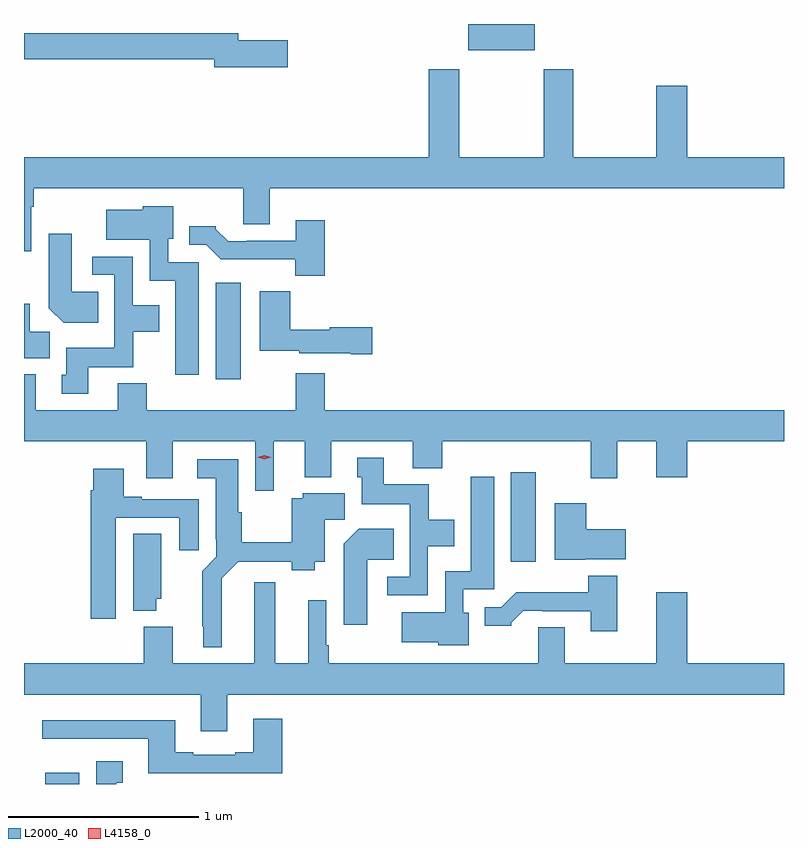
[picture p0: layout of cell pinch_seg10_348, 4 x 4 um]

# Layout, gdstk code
import gdstk
lib = gdstk.Library(unit=1e-6, precision=1e-09)
def R(c, l, rs):  # rectangles x0, y0, x1, y1
    for r in rs: c.add(gdstk.rectangle(r[:2], r[2:], *l))
def P(c, l, *ps):  # polygons
    for p in ps: c.add(gdstk.Polygon(p, *l))
L2000_40 = (2000, 40)
L4158_0 = (4158, 0)

pinch_seg10_348 = lib.new_cell('pinch_seg10_348')
R(pinch_seg10_348, L2000_40, [(497.456,1257.221,497.635,1257.28), (499.907,1258.392,500.038,1258.861), (498.353,1259.352,498.484,1259.86), (499.682,1261.082,500.032,1261.221)])
P(pinch_seg10_348, L2000_40, [(498.733,1261.136),(498.472,1261.136),(498.472,1261.172),(497.344,1261.172),(497.344,1261.036),(498.344,1261.036),(498.344,1260.994),(498.733,1260.994)],
  [(500.672,1260.895),(500.672,1260.52),(500.235,1260.52),(500.235,1260.982),(500.08,1260.982),(500.08,1260.52),(499.635,1260.52),(499.635,1260.982),(499.475,1260.982),(499.475,1260.52),(497.344,1260.52),(497.344,1260.024),(497.382,1260.024),(497.382,1260.26),(497.395,1260.26),(497.395,1260.356),(498.497,1260.356),(498.497,1260.166),(498.637,1260.166),(498.637,1260.356),(501.344,1260.356),(501.344,1260.52),(500.836,1260.52),(500.836,1260.895)],
  [(498.265,1259.967),(498.102,1259.967),(498.102,1260.09),(498.13,1260.09),(498.13,1260.262),(497.97,1260.262),(497.97,1260.244),(497.778,1260.244),(497.778,1260.086),(498.006,1260.086),(498.006,1259.87),(498.14,1259.87),(498.14,1259.376),(498.265,1259.376)],
  [(498.926,1260.187),(498.773,1260.187),(498.773,1260.081),(498.517,1260.081),(498.517,1260.078),(498.418,1260.078),(498.354,1260.142),(498.354,1260.157),(498.215,1260.157),(498.215,1260.06),(498.303,1260.06),(498.379,1259.984),(498.771,1259.984),(498.771,1259.897),(498.926,1259.897)],
  [(497.735,1259.812),(497.596,1259.812),(497.596,1260.118),(497.474,1260.118),(497.474,1259.726),(497.552,1259.648),(497.735,1259.648)],
  [(497.683,1259.414),(497.919,1259.414),(497.919,1259.6),(498.055,1259.6),(498.055,1259.74),(497.916,1259.74),(497.916,1259.997),(497.703,1259.997),(497.703,1259.901),(497.82,1259.901),(497.82,1259.518),(497.567,1259.518),(497.567,1259.376),(497.543,1259.376),(497.543,1259.274),(497.683,1259.274)],
  [(499.177,1259.624),(498.954,1259.624),(498.954,1259.611),(498.746,1259.611),(498.746,1259.815),(498.584,1259.815),(498.584,1259.501),(498.792,1259.501),(498.792,1259.489),(499.064,1259.489),(499.064,1259.482),(499.177,1259.482)],
  [(497.479,1259.6),(497.374,1259.6),(497.374,1259.749),(497.344,1259.749),(497.344,1259.462),(497.479,1259.462)],
  [(498.926,1259.383),(498.773,1259.383),(498.773,1259.188),(497.99,1259.188),(497.99,1259.329),(497.837,1259.329),(497.837,1259.188),(497.407,1259.188),(497.407,1259.377),(497.344,1259.377),(497.344,1259.024),(497.987,1259.024),(497.987,1258.83),(498.127,1258.83),(498.127,1259.024),(498.561,1259.024),(498.561,1258.764),(498.658,1258.764),(498.658,1259.024),(498.821,1259.024),(498.821,1258.835),(498.961,1258.835),(498.961,1259.024),(499.391,1259.024),(499.391,1258.883),(499.544,1258.883),(499.544,1259.024),(500.327,1259.024),(500.327,1258.83),(500.467,1258.83),(500.467,1259.024),(500.672,1259.024),(500.672,1258.836),(500.836,1258.836),(500.836,1259.024),(501.344,1259.024),(501.344,1259.188),(498.926,1259.188)],
  [(499.47,1258.472),(499.609,1258.472),(499.609,1258.612),(499.473,1258.612),(499.473,1258.798),(499.237,1258.798),(499.237,1258.939),(499.097,1258.939),(499.097,1258.836),(499.121,1258.836),(499.121,1258.694),(499.374,1258.694),(499.374,1258.311),(499.257,1258.311),(499.257,1258.215),(499.47,1258.215)],
  [(498.385,1258.304),(498.472,1258.392),(498.752,1258.392),(498.752,1258.346),(498.874,1258.346),(498.874,1258.391),(498.928,1258.391),(498.928,1258.612),(499.033,1258.612),(499.033,1258.75),(498.81,1258.75),(498.81,1258.726),(498.752,1258.726),(498.752,1258.493),(498.49,1258.493),(498.49,1258.65),(498.472,1258.65),(498.472,1258.93),(498.255,1258.93),(498.255,1258.829),(498.353,1258.829),(498.353,1258.51),(498.357,1258.51),(498.357,1258.416),(498.283,1258.342),(498.283,1258.051),(498.287,1258.051),(498.287,1257.941),(498.385,1257.941)],
  [(497.827,1258.623),(498.161,1258.623),(498.161,1258.452),(498.265,1258.452),(498.265,1258.719),(497.965,1258.719),(497.965,1258.732),(497.869,1258.732),(497.869,1258.879),(497.708,1258.879),(497.708,1258.766),(497.696,1258.766),(497.696,1258.092),(497.827,1258.092)],
  [(499.684,1258.122),(499.656,1258.122),(499.656,1258.245),(499.819,1258.245),(499.819,1258.837),(499.694,1258.837),(499.694,1258.342),(499.56,1258.342),(499.56,1258.126),(499.332,1258.126),(499.332,1257.968),(499.524,1257.968),(499.524,1257.95),(499.684,1257.95)],
  [(500.298,1258.403),(500.512,1258.403),(500.512,1258.561),(500.302,1258.561),(500.302,1258.699),(500.138,1258.699),(500.138,1258.4),(500.298,1258.4)],
  [(499.15,1258.4),(499.289,1258.4),(499.289,1258.564),(499.106,1258.564),(499.028,1258.486),(499.028,1258.059),(499.15,1258.059)],
  [(498.04,1258.197),(498.067,1258.197),(498.067,1258.538),(497.918,1258.538),(497.918,1258.133),(498.04,1258.133)],
  [(500.467,1258.318),(500.315,1258.318),(500.315,1258.231),(499.936,1258.231),(499.857,1258.152),(499.769,1258.152),(499.769,1258.055),(499.908,1258.055),(499.908,1258.07),(499.972,1258.134),(500.071,1258.134),(500.071,1258.131),(500.327,1258.131),(500.327,1258.026),(500.467,1258.026)],
  [(498.415,1257.692),(501.344,1257.692),(501.344,1257.856),(500.836,1257.856),(500.836,1258.231),(500.672,1258.231),(500.672,1257.856),(500.191,1257.856),(500.191,1258.046),(500.051,1258.046),(500.051,1257.856),(498.949,1257.856),(498.949,1257.952),(498.936,1257.952),(498.936,1258.189),(498.839,1258.189),(498.839,1257.856),(498.667,1257.856),(498.667,1258.282),(498.557,1258.282),(498.557,1257.856),(498.127,1257.856),(498.127,1258.048),(497.975,1258.048),(497.975,1257.856),(497.344,1257.856),(497.344,1257.692),(498.275,1257.692),(498.275,1257.498),(498.415,1257.498)],
  [(498.704,1257.565),(498.551,1257.565),(498.551,1257.388),(498.455,1257.388),(498.455,1257.375),(498.235,1257.375),(498.235,1257.388),(498.139,1257.388),(498.139,1257.556),(497.439,1257.556),(497.439,1257.459),(497.999,1257.459),(497.999,1257.278),(498.704,1257.278)],
  [(497.83,1257.227),(497.863,1257.227),(497.863,1257.34),(497.723,1257.34),(497.723,1257.221),(497.83,1257.221)])
P(pinch_seg10_348, L4158_0, [(498.609,1258.931),(498.573,1258.941),(498.573,1258.941),(498.573,1258.941),(498.609,1258.951),(498.644,1258.941),(498.644,1258.941),(498.644,1258.941)])

lib.write_gds('pinch_seg10_348.gds')
